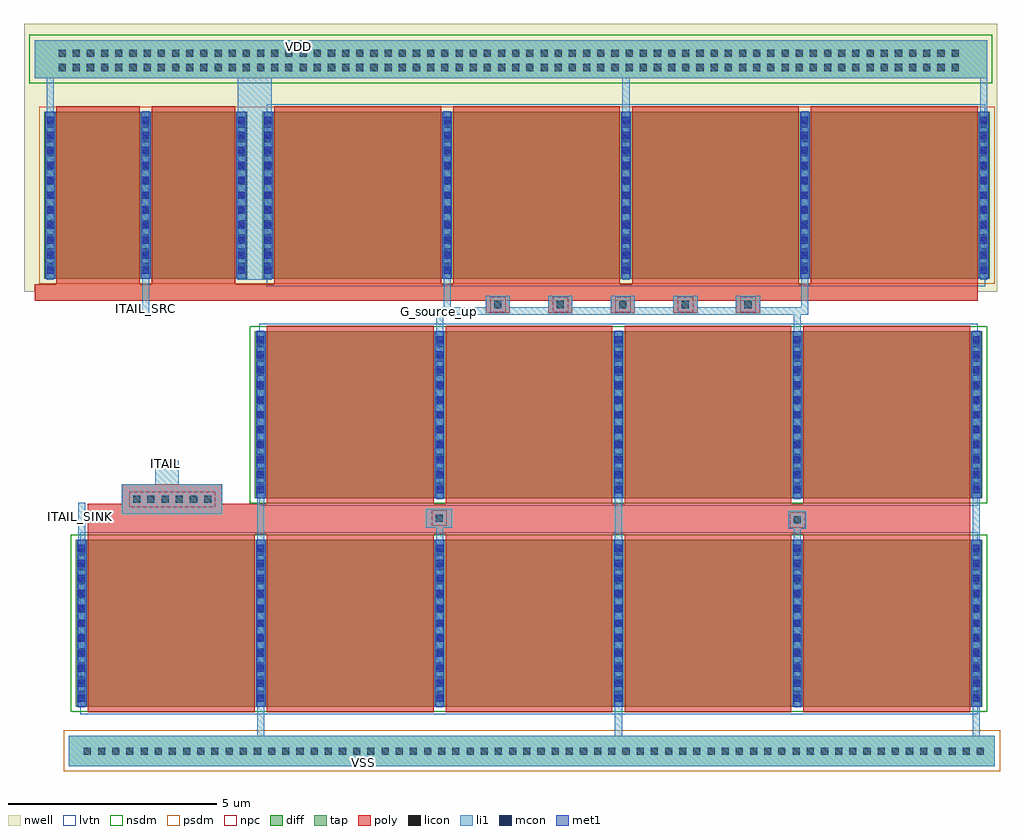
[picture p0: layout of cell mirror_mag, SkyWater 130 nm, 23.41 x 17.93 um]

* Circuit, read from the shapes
.subckt mirror_mag G_source_up ITAIL ITAIL_SINK ITAIL_SRC VDD VSS
XM1 VSS ITAIL ITAIL_SINK VSS sky130_fd_pr__nfet_01v8_lvt w=4 l=4
XM2 ITAIL ITAIL VSS VSS sky130_fd_pr__nfet_01v8_lvt w=4 l=4 m=4
XM3 G_source_up ITAIL VSS VSS sky130_fd_pr__nfet_01v8_lvt w=4 l=4 m=4
XM4 ITAIL_SRC G_source_up VDD VDD sky130_fd_pr__pfet_01v8 w=4 l=2 m=2
XM5 G_source_up G_source_up VDD VDD sky130_fd_pr__pfet_01v8_lvt w=4 l=4 m=4
.ends

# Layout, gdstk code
import gdstk
lib = gdstk.Library(unit=1e-6, precision=1e-09)
def R(c, l, rs):  # rectangles x0, y0, x1, y1
    for r in rs: c.add(gdstk.rectangle(r[:2], r[2:], *l))
def A(c, l, x, y, w, h, nx, ny, dx, dy):  # array of equal rectangles
    R(c, l, [(x+i*dx, y+j*dy, x+i*dx+w, y+j*dy+h) for i in range(nx) for j in range(ny)])
nwell = (64, 20)
diff = (65, 20)
tap = (65, 44)
poly = (66, 20)
licon = (66, 44)
li1 = (67, 20)
mcon = (67, 44)
met1 = (68, 20)
nsdm = (93, 44)
psdm = (94, 20)
npc = (95, 20)
lvtn = (125, 44)

sky130_fd_pr__pfet_01v8_ = lib.new_cell('sky130_fd_pr__pfet_01v8_YFYKQQ')
R(sky130_fd_pr__pfet_01v8_, nwell, [(-2.615,-2.31,2.615,2.31)])
R(sky130_fd_pr__pfet_01v8_, diff, [(-2.435,-2,2.435,2)])
R(sky130_fd_pr__pfet_01v8_, poly, [(-2.145,-2.13,-0.145,2.13), (0.145,-2.13,2.145,2.13)])
A(sky130_fd_pr__pfet_01v8_, licon, -2.375, -1.785, 0.17, 0.17, 3, 11, 2.29, 0.34)
A(sky130_fd_pr__pfet_01v8_, li1, -2.375, -2.02, 0.17, 4.04, 3, 1, 2.29, 0)
A(sky130_fd_pr__pfet_01v8_, mcon, -2.375, -1.885, 0.17, 0.17, 3, 11, 2.29, 0.36)
A(sky130_fd_pr__pfet_01v8_, met1, -2.405, -2, 0.23, 4, 3, 1, 2.29, 0)
R(sky130_fd_pr__pfet_01v8_, psdm, [(-2.56,-2.125,2.56,2.125)])

c_sky130_fd_pr__pfet_01v8_ = lib.new_cell('sky130_fd_pr__pfet_01v8_lvt_VFL754')
R(c_sky130_fd_pr__pfet_01v8_, nwell, [(-8.905,-2.31,8.905,2.31)])
R(c_sky130_fd_pr__pfet_01v8_, diff, [(-8.725,-2,8.725,2)])
A(c_sky130_fd_pr__pfet_01v8_, poly, -8.435, -2.13, 4, 4.26, 4, 1, 4.29, 0)
A(c_sky130_fd_pr__pfet_01v8_, licon, -8.665, -1.785, 0.17, 0.17, 5, 11, 4.29, 0.34)
A(c_sky130_fd_pr__pfet_01v8_, li1, -8.665, -2.02, 0.17, 4.04, 5, 1, 4.29, 0)
A(c_sky130_fd_pr__pfet_01v8_, mcon, -8.665, -1.885, 0.17, 0.17, 5, 11, 4.29, 0.36)
A(c_sky130_fd_pr__pfet_01v8_, met1, -8.695, -2, 0.23, 4, 5, 1, 4.29, 0)
R(c_sky130_fd_pr__pfet_01v8_, psdm, [(-8.85,-2.125,8.85,2.125)])
R(c_sky130_fd_pr__pfet_01v8_, lvtn, [(-8.615,-2.18,8.615,2.18)])

sky130_fd_pr__nfet_01v8_ = lib.new_cell('sky130_fd_pr__nfet_01v8_lvt_X7SJAL')
R(sky130_fd_pr__nfet_01v8_, diff, [(-2.29,-2,2.29,2)])
R(sky130_fd_pr__nfet_01v8_, poly, [(-2,-2.13,2,2.13)])
A(sky130_fd_pr__nfet_01v8_, licon, -2.23, -1.785, 0.17, 0.17, 1, 11, 0, 0.34)
A(sky130_fd_pr__nfet_01v8_, licon, 2.06, -1.785, 0.17, 0.17, 1, 11, 0, 0.34)
R(sky130_fd_pr__nfet_01v8_, li1, [(-2.23,-2.02,-2.06,2.02), (2.06,-2.02,2.23,2.02)])
A(sky130_fd_pr__nfet_01v8_, mcon, -2.23, -1.885, 0.17, 0.17, 1, 11, 0, 0.36)
A(sky130_fd_pr__nfet_01v8_, mcon, 2.06, -1.885, 0.17, 0.17, 1, 11, 0, 0.36)
R(sky130_fd_pr__nfet_01v8_, met1, [(-2.26,-2,-2.03,2), (2.03,-2,2.26,2)])
R(sky130_fd_pr__nfet_01v8_, nsdm, [(-2.415,-2.125,2.415,2.125)])
R(sky130_fd_pr__nfet_01v8_, lvtn, [(-2.18,-2.18,2.18,2.18)])

c_sky130_fd_pr__nfet_01v8_ = lib.new_cell('sky130_fd_pr__nfet_01v8_lvt_QAGZKG')
R(c_sky130_fd_pr__nfet_01v8_, diff, [(-8.725,-2,8.725,2)])
A(c_sky130_fd_pr__nfet_01v8_, poly, -8.435, -2.13, 4, 4.26, 4, 1, 4.29, 0)
A(c_sky130_fd_pr__nfet_01v8_, licon, -8.665, -1.785, 0.17, 0.17, 5, 11, 4.29, 0.34)
A(c_sky130_fd_pr__nfet_01v8_, li1, -8.665, -2.02, 0.17, 4.04, 5, 1, 4.29, 0)
A(c_sky130_fd_pr__nfet_01v8_, mcon, -8.665, -1.885, 0.17, 0.17, 5, 11, 4.29, 0.36)
A(c_sky130_fd_pr__nfet_01v8_, met1, -8.695, -2, 0.23, 4, 5, 1, 4.29, 0)
R(c_sky130_fd_pr__nfet_01v8_, nsdm, [(-8.85,-2.125,8.85,2.125)])
R(c_sky130_fd_pr__nfet_01v8_, lvtn, [(-8.615,-2.18,8.615,2.18)])

mirror_mag = lib.new_cell('mirror_mag')
R(mirror_mag, nwell, [(7.9,8.5,30.52,8.725), (7.645,8.725,30.52,8.905), (7.645,8.905,8.105,13.345), (26.29,8.905,26.46,9.035), (12.77,9.015,13.59,13.345), (8.19,13.03,8.36,13.345), (22,13.035,22.17,13.345), (30.575,13.035,30.745,13.345), (7.645,13.345,30.99,15.15)])
R(mirror_mag, tap, [(8.72,-2.655,30.93,-1.925), (7.9,13.845,30.75,14.755)])
A(mirror_mag, poly, 18.72, 8.21, 0.58, 0.29, 5, 1, 1.5, 0)
R(mirror_mag, poly, [(9.18,2.9,30.34,3.64), (9.995,3.64,12.395,4.105), (7.9,8.5,30.52,8.905)])
A(mirror_mag, licon, 9.08, -2.385, 0.17, 0.17, 64, 1, 0.34, 0)
A(mirror_mag, licon, 10.265, 3.655, 0.17, 0.17, 6, 1, 0.34, 0)
A(mirror_mag, licon, 18.925, 8.33, 0.17, 0.17, 5, 1, 1.5, 0)
A(mirror_mag, licon, 8.475, 14.015, 0.17, 0.17, 64, 2, 0.34, 0.34)
R(mirror_mag, licon, [(26.11,3.165,26.28,3.335), (17.52,3.205,17.69,3.375)])
A(mirror_mag, li1, 13.24, 2.77, 0.17, 0.99, 3, 1, 8.58, 0)
A(mirror_mag, li1, 18.72, 8.345, 0.58, 0.28, 5, 1, 1.5, 0)
R(mirror_mag, li1, [(8.72,-2.655,30.93,-1.925), (13.235,-1.925,13.41,-1.23), (21.82,-1.925,21.99,-1.24), (30.4,-1.925,30.57,-1.245), (8.95,2.77,9.12,3.655), (26.11,2.77,26.28,3.035), (17.53,2.775,17.7,3.06), (25.98,3.035,26.41,3.465), (17.285,3.06,17.915,3.515), (9.995,3.38,12.395,4.105), (10.79,4.105,11.355,4.67), (26.11,7.77,26.28,8.175), (17.53,7.78,17.7,8.175), (17.53,8.175,26.46,8.345), (10.48,8.195,10.65,9.03), (17.71,8.345,17.88,9.035), (26.29,8.345,26.46,9.035), (12.77,9.015,13.59,13.845), (8.19,13.03,8.36,13.845), (22,13.035,22.17,13.845), (30.58,13.035,30.75,13.845), (7.9,13.845,30.75,14.755)])
R(mirror_mag, nsdm, [(7.775,13.72,30.875,14.88)])
R(mirror_mag, psdm, [(8.595,-2.78,31.055,-1.8), (13.125,8.91,13.235,13.16)])
A(mirror_mag, npc, 18.825, 8.23, 0.37, 0.37, 5, 1, 1.5, 0)
R(mirror_mag, npc, [(26.01,3.065,26.38,3.435), (17.42,3.105,17.79,3.475), (10.165,3.555,12.235,3.925)])
mirror_mag.add(gdstk.Reference(sky130_fd_pr__pfet_01v8_, (10.565,11.035)))
mirror_mag.add(gdstk.Reference(c_sky130_fd_pr__pfet_01v8_, (22.085,11.035)))
mirror_mag.add(gdstk.Reference(sky130_fd_pr__nfet_01v8_, (11.18,0.77)))
mirror_mag.add(gdstk.Reference(c_sky130_fd_pr__nfet_01v8_, (21.905,0.77)))
mirror_mag.add(gdstk.Reference(c_sky130_fd_pr__nfet_01v8_, (21.905,5.77)))
mirror_mag.add(gdstk.Label('G_source_up', (17.62,8.25), layer=67, texttype=5))
mirror_mag.add(gdstk.Label('VDD', (14.225,14.615), layer=67, texttype=5))
mirror_mag.add(gdstk.Label('VSS', (15.795,-2.57), layer=67, texttype=5))
mirror_mag.add(gdstk.Label('ITAIL_SINK', (9,3.335), layer=67, texttype=5))
mirror_mag.add(gdstk.Label('ITAIL', (11.035,4.605), layer=67, texttype=5))
mirror_mag.add(gdstk.Label('ITAIL_SRC', (10.56,8.31), layer=67, texttype=5))

lib.write_gds('mirror_mag.gds')
